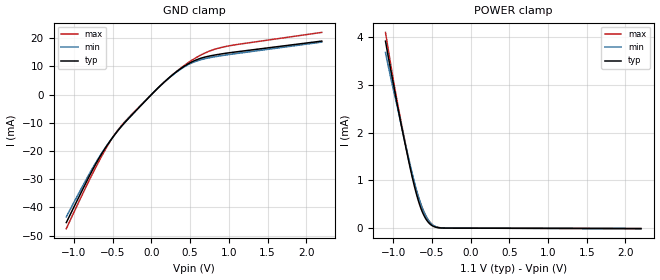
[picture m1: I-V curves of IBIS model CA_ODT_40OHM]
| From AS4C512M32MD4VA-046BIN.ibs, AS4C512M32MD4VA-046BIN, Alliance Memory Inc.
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|   MODEL: CA_ODT_40OHM
[Model]   CA_ODT_40OHM
Model_type   Input
Vinl   = 0.080V
Vinh   = 0.220V
|   typ   min   max
C_comp   0.525pF   0.473pF   0.578pF
[Voltage Range]   1.100V   1.060V   1.170V
[Temperature Range]   25.0   85.0   -40.0
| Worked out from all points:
|   GND clamp passes 1 mA (typ) near -0.04 V on its own axis
|   POWER clamp passes 1 mA (typ) near -0.74 V on its own axis
[GND Clamp]
|   Voltage   I(typ)   I(min)   I(max)
-1.1V     -45.36mA   -43.31mA   -47.5mA
-730mV    -25.12mA   -24.63mA   -26.36mA
-600mV    -19.11mA   -19mA      -19.69mA
-470mV    -14.06mA   -14.05mA   -13.95mA
-320mV    -9.189mA   -9.179mA   -8.902mA
40mV      1.123mA    1.11mA     1.103mA
200mV     5.288mA    5.215mA    5.259mA
360mV     8.827mA    8.66mA     8.957mA
590mV     12.39mA    11.93mA    13.27mA
730mV     13.52mA    12.93mA    15.17mA
870mV     14.24mA    13.62mA    16.46mA
2.2V      18.93mA    18.58mA    22.01mA
[POWER Clamp]
|   Voltage   I(typ)   I(min)   I(max)
-1.1V     3.911mA    3.676mA    4.095mA
-1.01V    3.119mA    2.984mA    3.207mA
-940mV    2.517mA    2.485mA    2.575mA
-830mV    1.635mA    1.667mA    1.664mA
-760mV    1.107mA    1.178mA    1.147mA
-690mV    655.5uA    742.3uA    729.9uA
-630mV    363.6uA    444.7uA    445.2uA
-560mV    149.9uA    201.3uA    203.4uA
-490mV    45.89uA    67uA       65.9uA
-420mV    10.64uA    16.45uA    14.42uA
-300mV    1.445uA    1.909uA    1.45uA
2.2V      -8.354uA   -10.02uA   -8.306uA
